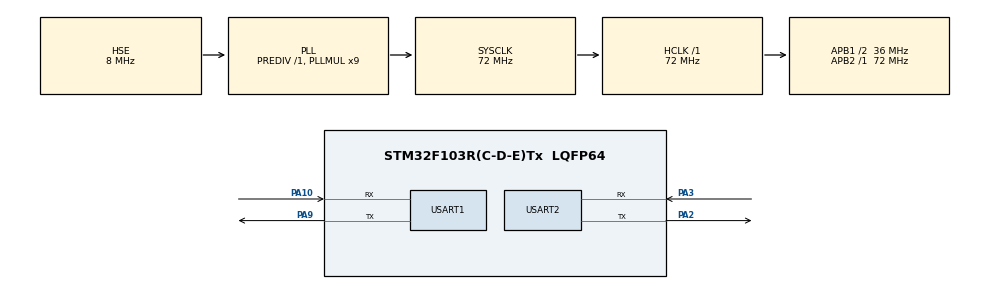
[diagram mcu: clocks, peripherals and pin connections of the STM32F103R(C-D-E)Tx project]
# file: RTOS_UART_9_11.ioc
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FREERTOS.BinarySemaphores01=myBinarySem01,Dynamic,NULL;myBinarySem02,Dynamic,NULL
FREERTOS.Tasks01=defaultTask,0,128,StartDefaultTask,Default,NULL,Dynamic,NULL,NULL;U1_Task,0,128,U1_Task02,Default,NULL,Dynamic,NULL,NULL;U2_Task,-3,128,U2_TaskStart,Default,NULL,Dynamic,NULL,NULL
FREERTOS.configUSE_TIMERS=1
Mcu.Family=STM32F1
Mcu.Name=STM32F103R(C-D-E)Tx
Mcu.Package=LQFP64
NVIC.PriorityGroup=NVIC_PRIORITYGROUP_4
NVIC.TIM3_IRQn=true\:5\:0\:false\:false\:true\:true\:true\:true\:true
NVIC.TIM6_IRQn=true\:5\:0\:false\:false\:true\:true\:true\:true\:true
NVIC.TIM7_IRQn=true\:15\:0\:false\:false\:true\:false\:false\:true\:true
NVIC.TimeBase=TIM7_IRQn
NVIC.TimeBaseIP=TIM7
NVIC.USART1_IRQn=true\:5\:0\:false\:false\:true\:true\:true\:true\:true
NVIC.USART2_IRQn=true\:5\:0\:false\:false\:true\:true\:true\:true\:true
PA10.Mode=Asynchronous
PA10.Signal=USART1_RX
PA13.Mode=Serial_Wire
PA13.Signal=SYS_JTMS-SWDIO
PA14.Mode=Serial_Wire
PA14.Signal=SYS_JTCK-SWCLK
PA2.Mode=Asynchronous
PA2.Signal=USART2_TX
PA3.Mode=Asynchronous
PA3.Signal=USART2_RX
PA9.Mode=Asynchronous
PA9.Signal=USART1_TX
PD0-OSC_IN.Mode=HSE-External-Oscillator
PD0-OSC_IN.Signal=RCC_OSC_IN
PD1-OSC_OUT.Mode=HSE-External-Oscillator
PD1-OSC_OUT.Signal=RCC_OSC_OUT
ProjectManager.HeapSize=0x200
ProjectManager.StackSize=0x400
ProjectManager.TargetToolchain=MDK-ARM V5.32
RCC.AHBFreq_Value=72000000
RCC.APB1CLKDivider=RCC_HCLK_DIV2
RCC.APB1Freq_Value=36000000
RCC.APB1TimFreq_Value=72000000
RCC.APB2Freq_Value=72000000
RCC.APB2TimFreq_Value=72000000
RCC.HCLKFreq_Value=72000000
RCC.PLLMUL=RCC_PLL_MUL9
RCC.PLLSourceVirtual=RCC_PLLSOURCE_HSE
RCC.SYSCLKFreq_VALUE=72000000
RCC.SYSCLKSource=RCC_SYSCLKSOURCE_PLLCLK
RCC.USBFreq_Value=72000000
TIM3.Period=50-1
TIM3.Prescaler=7200-1
TIM6.Period=50-1
TIM6.Prescaler=7200-1
USART1.VirtualMode=VM_ASYNC
USART2.VirtualMode=VM_ASYNC
VP_FREERTOS_VS_CMSIS_V1.Mode=CMSIS_V1
VP_SYS_VS_tim7.Mode=TIM7
VP_TIM3_VS_ClockSourceINT.Mode=Internal
VP_TIM6_VS_ClockSourceINT.Mode=Enable_Timer
board=custom

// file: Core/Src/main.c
/* USER CODE BEGIN Header */
/**
  ******************************************************************************
  * @file           : main.c
  * @brief          : Main program body
  ******************************************************************************
  * @attention
  *
  * Copyright (c) 2024 STMicroelectronics.
  * All rights reserved.
  *
  * This software is licensed under terms that can be found in the LICENSE file
  * in the root directory of this software component.
  * If no LICENSE file comes with this software, it is provided AS-IS.
  *
  ******************************************************************************
  */
/* USER CODE END Header */
#include "main.h"
#include "cmsis_os.h"
#include "tim.h"
#include "usart.h"
#include "gpio.h"

/* USER CODE BEGIN PV */
/********************************************************************************/
uint8_t RxBuffer[MAX_REC_LENGTH] = {0};		//串口数据存储BUFF		长度2048
uint8_t RxFlag = 0;							//串口接收完成标志符
uint16_t RxCounter = 0;						//串口长度计数
uint8_t RxTemp[REC_LENGTH] = {0};			//串口数据接收暂存BUFF	长度1

uint8_t RxBuffer2[MAX_REC_LENGTH] = {0};		//串口数据存储BUFF		长度2048
uint8_t RxFlag2 = 0;							//串口接收完成标志符
uint16_t RxCounter2 = 0;						//串口长度计数
uint8_t RxTemp2[REC_LENGTH] = {0};			//串口数据接收暂存BUFF	长度1

extern osSemaphoreId myBinarySem01Handle;	//操作系统定义的互斥量
extern osSemaphoreId myBinarySem02Handle;	//操作系统定义的互斥量
/********************************************************************************/
/* USER CODE END PV */

void SystemClock_Config(void);
void MX_FREERTOS_Init(void);

int main(void)
{

  /* MCU Configuration--------------------------------------------------------*/

  /* Reset of all peripherals, Initializes the Flash interface and the Systick. */
  HAL_Init();

  /* Configure the system clock */
  SystemClock_Config();

  /* Initialize all configured peripherals */
  MX_GPIO_Init();
  MX_TIM6_Init();
  MX_USART1_UART_Init();
  MX_TIM3_Init();
  MX_USART2_UART_Init();

  /* Call init function for freertos objects (in freertos.c) */
  MX_FREERTOS_Init();

  /* Start scheduler */
  osKernelStart();

  /* We should never get here as control is now taken by the scheduler */
  /* Infinite loop */
  while (1)
  {

  }
}

void SystemClock_Config(void)
{
  RCC_OscInitTypeDef RCC_OscInitStruct = {0};
  RCC_ClkInitTypeDef RCC_ClkInitStruct = {0};

  /** Initializes the RCC Oscillators according to the specified parameters
  * in the RCC_OscInitTypeDef structure.
  */
  RCC_OscInitStruct.OscillatorType = RCC_OSCILLATORTYPE_HSE;
  RCC_OscInitStruct.HSEState = RCC_HSE_ON;
  RCC_OscInitStruct.HSEPredivValue = RCC_HSE_PREDIV_DIV1;
  RCC_OscInitStruct.HSIState = RCC_HSI_ON;
  RCC_OscInitStruct.PLL.PLLState = RCC_PLL_ON;
  RCC_OscInitStruct.PLL.PLLSource = RCC_PLLSOURCE_HSE;
  RCC_OscInitStruct.PLL.PLLMUL = RCC_PLL_MUL9;
  if (HAL_RCC_OscConfig(&RCC_OscInitStruct) != HAL_OK)
  {
    Error_Handler();
  }

  /** Initializes the CPU, AHB and APB buses clocks
  */
  RCC_ClkInitStruct.ClockType = RCC_CLOCKTYPE_HCLK|RCC_CLOCKTYPE_SYSCLK
                              |RCC_CLOCKTYPE_PCLK1|RCC_CLOCKTYPE_PCLK2;
  RCC_ClkInitStruct.SYSCLKSource = RCC_SYSCLKSOURCE_PLLCLK;
  RCC_ClkInitStruct.AHBCLKDivider = RCC_SYSCLK_DIV1;
  RCC_ClkInitStruct.APB1CLKDivider = RCC_HCLK_DIV2;
  RCC_ClkInitStruct.APB2CLKDivider = RCC_HCLK_DIV1;

  if (HAL_RCC_ClockConfig(&RCC_ClkInitStruct, FLASH_LATENCY_2) != HAL_OK)
  {
    Error_Handler();
  }
}

/* USER CODE BEGIN 4 */
/********************************************************************************/
void HAL_UART_RxCpltCallback(UART_HandleTypeDef *huart)//串口3接收完成回调函数
{
	if(huart->Instance == USART1)
	{
		__HAL_TIM_SET_COUNTER(&htim6,0);							//清除定时器7计数值
		if(0 == RxCounter)											//如果是首字符（每帧数据开头）则开启定时器
		{
			__HAL_TIM_CLEAR_FLAG(&htim6, TIM_FLAG_UPDATE);			//清除中断标志位
			HAL_TIM_Base_Start_IT(&htim6);							//开启基本定时器
		}
		RxBuffer[RxCounter] = RxTemp[0];							//缓存数据放入接收数组
		RxCounter++;												//计数器加1
		HAL_UART_Receive_IT(&huart1,(uint8_t *)RxTemp, REC_LENGTH);	//重新使能中断
	}
	else if(huart->Instance == USART2)
	{
		__HAL_TIM_SET_COUNTER(&htim3,0);							//清除定时器7计数值
		if(0 == RxCounter2)											//如果是首字符（每帧数据开头）则开启定时器
		{
			__HAL_TIM_CLEAR_FLAG(&htim3, TIM_FLAG_UPDATE);			//清除中断标志位
			HAL_TIM_Base_Start_IT(&htim3);							//开启基本定时器
		}
		RxBuffer2[RxCounter2] = RxTemp2[0];							//缓存数据放入接收数组
		RxCounter2++;												//计数器加1
		HAL_UART_Receive_IT(&huart2,(uint8_t *)RxTemp2, REC_LENGTH);	//重新使能中断
	}
}
/********************************************************************************/

/* USER CODE END 4 */

void HAL_TIM_PeriodElapsedCallback(TIM_HandleTypeDef *htim)
{
  if (htim->Instance == TIM7) {
    HAL_IncTick();
  }
  /* USER CODE BEGIN Callback 1 */
	/********************************************************************************/
	if(htim->Instance == TIM6)
	{
		RxFlag = 1;																	//接收标志位置1
		HAL_TIM_Base_Stop_IT(&htim6);								//关闭定时器
		osSemaphoreRelease(myBinarySem01Handle);		//释放二值信号量，进入串口任务
	}
	/********************************************************************************/
  /* USER CODE END Callback 1 */
}

void Error_Handler(void)
{
  __disable_irq();
  while (1)
  {
  }
}

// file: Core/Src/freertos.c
/* USER CODE BEGIN Header */
/**
  ******************************************************************************
  * File Name          : freertos.c
  * Description        : Code for freertos applications
  ******************************************************************************
  * @attention
  *
  * Copyright (c) 2024 STMicroelectronics.
  * All rights reserved.
  *
  * This software is licensed under terms that can be found in the LICENSE file
  * in the root directory of this software component.
  * If no LICENSE file comes with this software, it is provided AS-IS.
  *
  ******************************************************************************
  */
/* USER CODE END Header */

#include "FreeRTOS.h"
#include "task.h"
#include "main.h"
#include "cmsis_os.h"

/* USER CODE BEGIN Includes */
#include "usart.h"
#include "stdio.h"
#include <string.h>

/* USER CODE END Includes */

osThreadId defaultTaskHandle;
osThreadId U1_TaskHandle;
osThreadId U2_TaskHandle;
osSemaphoreId myBinarySem01Handle;
osSemaphoreId myBinarySem02Handle;

void StartDefaultTask(void const * argument);
void U1_Task02(void const * argument);
void U2_TaskStart(void const * argument);

void MX_FREERTOS_Init(void); /* (MISRA C 2004 rule 8.1) */

/* GetIdleTaskMemory prototype (linked to static allocation support) */
void vApplicationGetIdleTaskMemory( StaticTask_t **ppxIdleTaskTCBBuffer, StackType_t **ppxIdleTaskStackBuffer, uint32_t *pulIdleTaskStackSize );

/* GetTimerTaskMemory prototype (linked to static allocation support) */
void vApplicationGetTimerTaskMemory( StaticTask_t **ppxTimerTaskTCBBuffer, StackType_t **ppxTimerTaskStackBuffer, uint32_t *pulTimerTaskStackSize );

/* USER CODE BEGIN GET_IDLE_TASK_MEMORY */
static StaticTask_t xIdleTaskTCBBuffer;
static StackType_t xIdleStack[configMINIMAL_STACK_SIZE];

void vApplicationGetIdleTaskMemory( StaticTask_t **ppxIdleTaskTCBBuffer, StackType_t **ppxIdleTaskStackBuffer, uint32_t *pulIdleTaskStackSize )
{
  *ppxIdleTaskTCBBuffer = &xIdleTaskTCBBuffer;
  *ppxIdleTaskStackBuffer = &xIdleStack[0];
  *pulIdleTaskStackSize = configMINIMAL_STACK_SIZE;
  /* place for user code */
}
/* USER CODE END GET_IDLE_TASK_MEMORY */

/* USER CODE BEGIN GET_TIMER_TASK_MEMORY */
static StaticTask_t xTimerTaskTCBBuffer;
static StackType_t xTimerStack[configTIMER_TASK_STACK_DEPTH];

void vApplicationGetTimerTaskMemory( StaticTask_t **ppxTimerTaskTCBBuffer, StackType_t **ppxTimerTaskStackBuffer, uint32_t *pulTimerTaskStackSize )
{
  *ppxTimerTaskTCBBuffer = &xTimerTaskTCBBuffer;
  *ppxTimerTaskStackBuffer = &xTimerStack[0];
  *pulTimerTaskStackSize = configTIMER_TASK_STACK_DEPTH;
  /* place for user code */
}
/* USER CODE END GET_TIMER_TASK_MEMORY */

void MX_FREERTOS_Init(void) {

  /* Create the semaphores(s) */
  /* definition and creation of myBinarySem01 */
  osSemaphoreDef(myBinarySem01);
  myBinarySem01Handle = osSemaphoreCreate(osSemaphore(myBinarySem01), 1);

  /* definition and creation of myBinarySem02 */
  osSemaphoreDef(myBinarySem02);
  myBinarySem02Handle = osSemaphoreCreate(osSemaphore(myBinarySem02), 1);

  /* Create the thread(s) */
  /* definition and creation of defaultTask */
  osThreadDef(defaultTask, StartDefaultTask, osPriorityNormal, 0, 128);
  defaultTaskHandle = osThreadCreate(osThread(defaultTask), NULL);

  /* definition and creation of U1_Task */
  osThreadDef(U1_Task, U1_Task02, osPriorityNormal, 0, 128);
  U1_TaskHandle = osThreadCreate(osThread(U1_Task), NULL);

  /* definition and creation of U2_Task */
  osThreadDef(U2_Task, U2_TaskStart, osPriorityIdle, 0, 128);
  U2_TaskHandle = osThreadCreate(osThread(U2_Task), NULL);

}

void StartDefaultTask(void const * argument)
{
  /* USER CODE BEGIN StartDefaultTask */
	HAL_UART_Receive_IT(&huart1,(uint8_t *)RxTemp, REC_LENGTH);
	HAL_UART_Receive_IT(&huart2,(uint8_t *)RxTemp2, REC_LENGTH);
  /* Infinite loop */
  for(;;)
  {
    osDelay(1);
  }
  /* USER CODE END StartDefaultTask */
}

void U1_Task02(void const * argument)
{
  /* USER CODE BEGIN U1_Task02 */
  /* Infinite loop */
  for(;;)
  {
    /********************************************************************************/
		osSemaphoreWait(myBinarySem01Handle,100);						//等待二值信号量
		if(RxFlag == 1)													//数据接收完成
		{
			for(int i = 0; i<RxCounter; i++)							//打印接收数组存储的内容
				printf("%c",RxBuffer[i]);
					 printf("\r\n");											//打印完成换行
			RxFlag = 0;													//接收标志清零
			RxCounter = 0;												//接收计数清零
			memset(RxBuffer ,0, MAX_REC_LENGTH);						//清空接收数组
		}
		/********************************************************************************/
    osDelay(1);
  }
  /* USER CODE END U1_Task02 */
}

void U2_TaskStart(void const * argument)
{
  /* USER CODE BEGIN U2_TaskStart */
  /* Infinite loop */
  for(;;)
  {
		/********************************************************************************/
		osSemaphoreWait(myBinarySem02Handle,100);						//等待二值信号量
		if(RxFlag2 == 1)													//数据接收完成
		{
			for(int i = 0; i<RxCounter2; i++)							//打印接收数组存储的内容
				printf("%c",RxBuffer2[i]);
					 printf("\r\n");											//打印完成换行
			RxFlag2 = 0;													//接收标志清零
			RxCounter2 = 0;												//接收计数清零
			memset(RxBuffer2 ,0, MAX_REC_LENGTH);						//清空接收数组
		}
		/********************************************************************************/
    osDelay(1);
  }
  /* USER CODE END U2_TaskStart */
}
